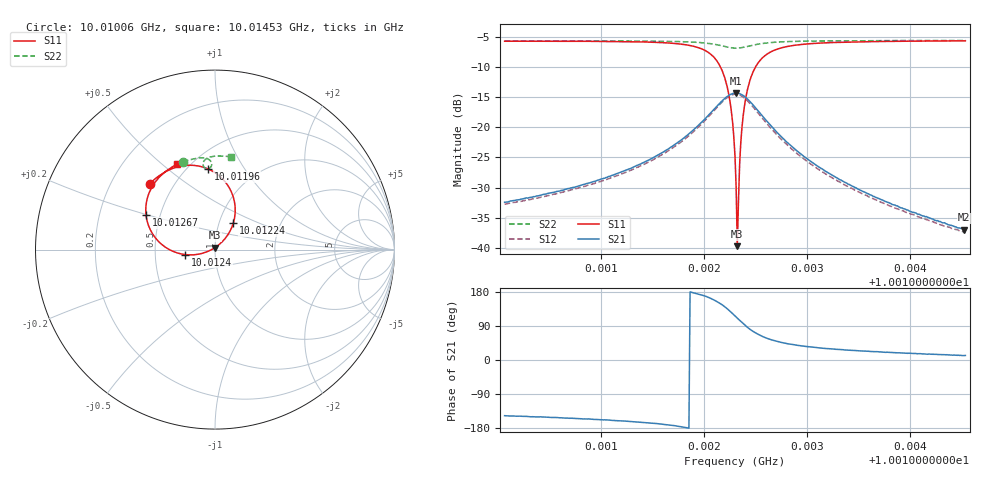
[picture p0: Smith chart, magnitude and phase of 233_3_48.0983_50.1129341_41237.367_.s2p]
#  HZ  S  RI  R  50.00
! Rohde & Schwarz Vector Network Analyzer
! Rohde-Schwarz,ZNB20-2Port,1311601062101988,3.16
! Created: UTC 12/23/2023, 3:58:00 AM
! freq[Hz]  re:S11  im:S11  re:S21  im:S21  re:S12  im:S12  re:S22  im:S22
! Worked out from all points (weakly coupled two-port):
!   401 points, 10.01006 GHz to 10.01453 GHz, reference 50 ohm
!   highest |S21| = -14.33 dB at 10.01231 GHz (marker M1); lowest = -37.0 dB at 10.01452 GHz (marker M2)
!   lowest |S11| = -39.7 dB at 10.01232 GHz (marker M3), VSWR 1.02, Z = 49.9 + j1.02 ohm
!   |S11| at or under -10 dB: 10.01216 GHz to 10.0125 GHz (341 kHz wide, 0.00341 % of centre)
!   |S22| runs from -6.9 to -5.6 dB; largest |S21 - S12| = 0.0092
!   S11 on the Smith chart (normalised r, x): 10.01006 GHz: 0.37, +0.37; 10.01196 GHz: 0.62, +0.70; 10.01224 GHz: 1.17, +0.35; 10.0124 GHz: 0.72, -0.04; 10.01267 GHz: 0.42, +0.20; 10.01453 GHz: 0.43, +0.56
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1.0010062e10  -0.3626 0.3675  -0.02 -0.013  -0.0186 -0.0135  -0.1781 0.4872
1.0010811e10  -0.3069 0.4145  -0.0301 -0.0139  -0.0282 -0.0149  -0.1296 0.5028
1.001156e10  -0.1993 0.4633  -0.0582 -0.012  -0.0555 -0.0143  -0.0738 0.5111
1.0011963e10  -0.0377 0.4489  -0.1065 0.0143  -0.104 0.00799  -0.0343 0.5021
1.0012142e10  0.091 0.3215  -0.136 0.0751  -0.1368 0.066  -0.0186 0.479
1.0012197e10  0.1124 0.2334  -0.1341 0.1089  -0.1358 0.1011  -0.0196 0.4672
1.0012242e10  0.1016 0.1462  -0.1201 0.1402  -0.1235 0.1323  -0.025 0.458
1.0012276e10  0.0709 0.0815  -0.1013 0.1611  -0.1058 0.1533  -0.0317 0.4531
1.0012287e10  0.0554 0.0605  -0.0934 0.1671  -0.0979 0.1596  -0.0347 0.4519
1.0012298e10  0.0389 0.0426  -0.0854 0.1721  -0.0896 0.1649  -0.0374 0.4509
1.0012309e10  0.0192 0.025  -0.0763 0.1764  -0.0807 0.1695  -0.0403 0.4507
1.001232e10  -0.0012 0.0103  -0.0673 0.1796  -0.0712 0.1732  -0.0432 0.4506
1.0012343e10  -0.047 -0.013  -0.0486 0.1835  -0.0526 0.1772  -0.0491 0.4516
1.0012365e10  -0.0949 -0.026  -0.0294 0.1836  -0.0341 0.1775  -0.0546 0.4541
1.0012399e10  -0.1649 -0.028  -0.00256 0.1774  -0.00789 0.1718  -0.0607 0.4593
1.0012443e10  -0.2455 -0.00441  0.0255 0.1611  0.0195 0.1563  -0.0655 0.4684
1.0012499e10  -0.315 0.0458  0.0463 0.1366  0.0402 0.1326  -0.0665 0.4797
1.0012667e10  -0.3844 0.1935  0.0602 0.0776  0.0547 0.0762  -0.0539 0.5023
1.0013047e10  -0.353 0.3455  0.0423 0.0286  0.039 0.029  -0.0183 0.5179
1.0013796e10  -0.274 0.4358  0.0221 0.0081  0.0205 0.00896  0.0379 0.5215
1.0014522e10  -0.2145 0.4739  0.0139 0.00289  0.013 0.00359  0.0873 0.5166
1.0014534e10  -0.2138 0.4744  0.0139 0.00294  0.0128 0.00338  0.088 0.5166
